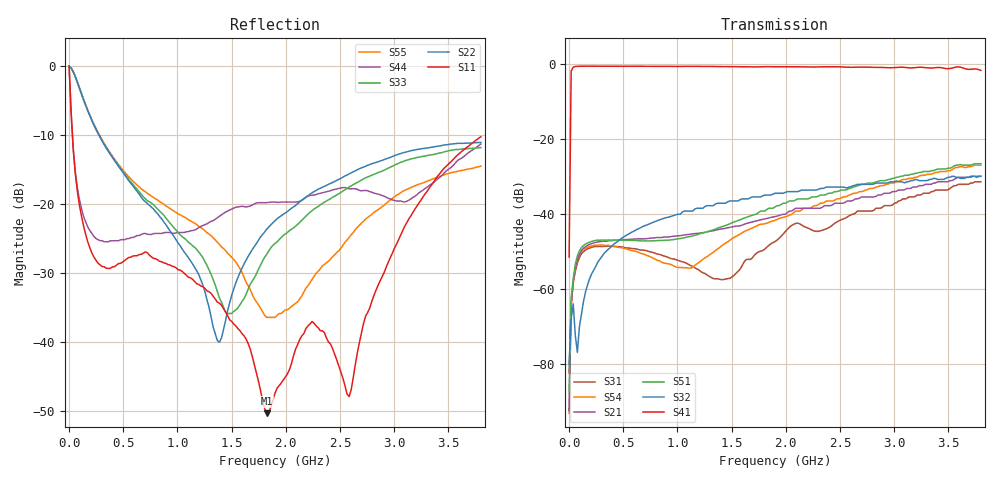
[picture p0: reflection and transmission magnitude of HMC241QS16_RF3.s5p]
! Hittite Microwave Corporation
! 20 Alpha Road
! Chelmsford, MA 01824
! Tel: 978-250-3343
! Fax: 978-250-3373
! Device: HMC241QS16, DC-3.5 GHz GaAs MMIC SP4T Non-Reflective Switch in 16 lead QSOP package
! Misc: Data was de-embedded to package pins.
!  Port 1 = RFC
!  Port 2 = RF1
!  Port 3 = RF2
!  Port 4 = RF3
!  Port 5 = RF4
!  Vdd  = + 5 V
!  RF3 selected, Vctl= 0/+5 V
!  Data reformated to new Touchstone file format - Tue Jan 09 10:09:53 2007
# MHz S DB R 50
! 5 Port Network Data
! freq  dbS11  angS11  dbS12  angS12  dbS13  angS13  dbS14  angS14
!  dbS15  angS15
!  dbS21  angS21  dbS22  angS22  dbS23  angS23
!  dbS24  angS24  dbS25  angS25
!  dbS31  angS31  dbS32  angS32
!  dbS33  angS33  dbS34  angS34  dbS35  angS35
!  dbS41  angS41
!  dbS42  angS42  dbS43  angS43  dbS44  angS44  dbS45  angS45
!  dbS51  angS51  dbS52  angS52  dbS53  angS53  dbS54  angS54
!  dbS55  angS55
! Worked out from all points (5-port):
!   201 points, 30 kHz to 3.8 GHz, reference 50 ohm
!   strongest paths, dB at 30 kHz, 950 MHz, 1.9 GHz, 2.85 GHz, 3.8 GHz:
!     S41: -51.4, -0.6, -0.7, -0.9, -1.7
!     S32: -80.1, -40.5, -34.4, -31.7, -29.9
!     S51: -87.3, -46.8, -38.1, -31.3, -26.6
!     S21: -92.3, -45.9, -40.6, -34.9, -29.9
!     S54: -93.1, -53.5, -41.6, -32.7, -26.9
!     S31: -82.3, -51.9, -47.3, -38.4, -31.4
!   lowest |S11| = -50.4 dB at 1.824 GHz (marker M1), VSWR 1.01, Z = 49.8 + j0.219 ohm
!   |S11| at or under -10 dB: 30.57 MHz to end of sweep
